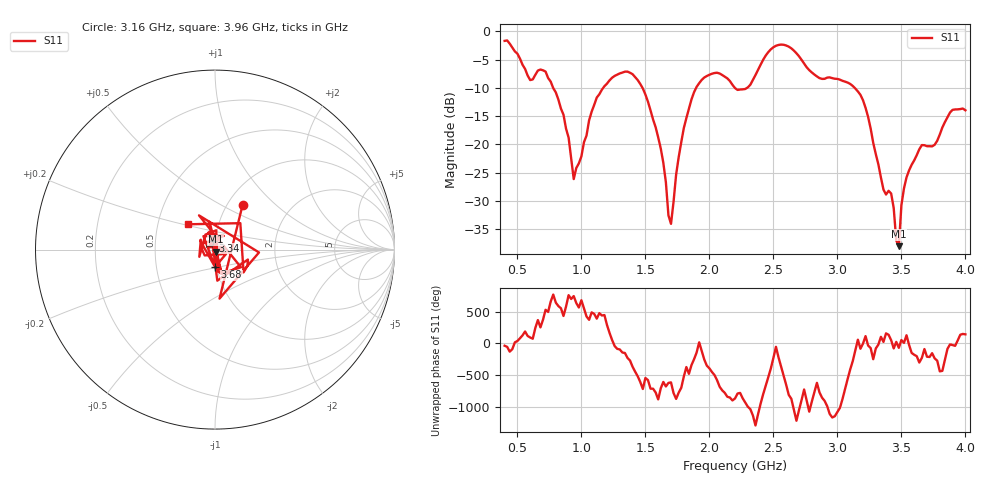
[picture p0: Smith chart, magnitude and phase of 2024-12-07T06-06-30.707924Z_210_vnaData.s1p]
!Created with skrf (http://scikit-rf.org).
# Hz S RI R 50.0
!freq ReS11 ImS11
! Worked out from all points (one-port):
!   181 points, 400 MHz to 4 GHz, reference 50 ohm
!   lowest |S11| = -38.0 dB at 3.48 GHz (marker M1), VSWR 1.03, Z = 50.4 - j1.2 ohm
!   |S11| at or under -10 dB: 779 MHz to 1.171 GHz (391.7 MHz wide, 40.2 % of centre); 1.477 GHz to 1.897 GHz (419.3 MHz wide, 24.9 % of centre); 3.135 GHz to end of sweep (the widest 3 of 4)
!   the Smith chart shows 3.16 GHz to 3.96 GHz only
!   S11 on the Smith chart (normalised r, x): 3.16 GHz: 1.17, +0.64; 3.34 GHz: 0.97, +0.10; 3.68 GHz: 0.98, -0.20; 3.96 GHz: 0.71, +0.21
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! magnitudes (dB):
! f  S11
! 400 MHz  -1.7
! 600 MHz  -8.6
! 720 MHz  -7.1
! 860 MHz  -14.7
! 940 MHz  -26.1
! 1.12 GHz  -11.7
! 1.3 GHz  -7.5
! 1.52 GHz  -12.5
! 1.62 GHz  -20.7
! 1.7 GHz  -34.0
! 1.76 GHz  -22.3
! 1.86 GHz  -12.0
! 1.94 GHz  -8.6
! 2.2 GHz  -10.0
! 2.32 GHz  -9.4
! 2.5 GHz  -2.8
! 2.66 GHz  -3.4
! 3.1 GHz  -9.3
! 3.16 GHz  -10.6
! 3.24 GHz  -15.1
! 3.34 GHz  -25.8
! 3.42 GHz  -28.7
! 3.48 GHz  -38.0
! 3.5 GHz  -30.8
! 3.56 GHz  -24.6
! 3.68 GHz  -20.1
! 3.96 GHz  -13.8
! 4 GHz  -14.0
